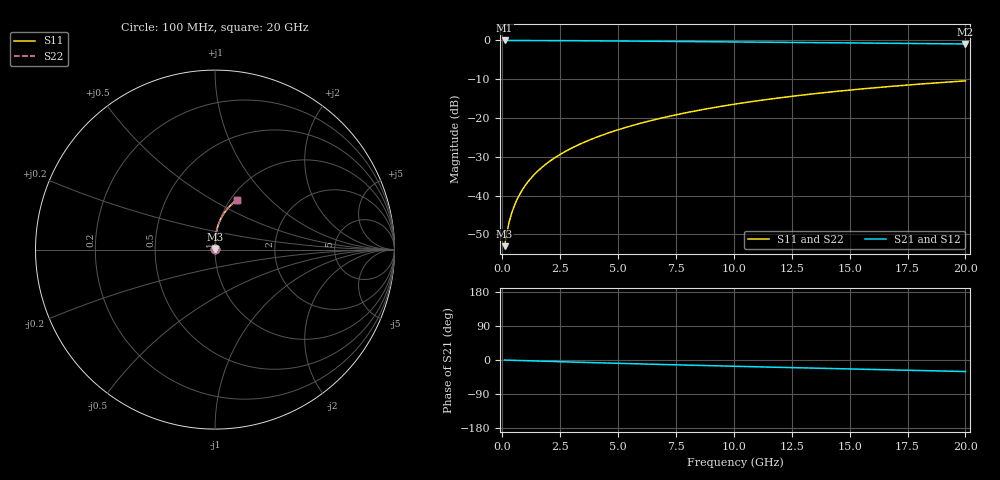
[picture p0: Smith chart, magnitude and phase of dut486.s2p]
! Touchstone file exported from HFSS 2024.1.0
!  File:  C:/UserFiles/LocalFiles/RDL_TSV_Batchsim/temp_RDL_bottom_486_1779686616.aedt
!  Generated:  01:26:07 PM May 25, 2026
!  Design:  RDL_bottom
!  Project:  temp_RDL_bottom_486_1779686616
!  Setup:  Setup1
!  Solution:  Sweep
! Variables:
!  dtsv = 10.80580581um
!  hbump = 3um
!  htsv = 59.37um
!  ldown = 410.51um
!  lrdl = 100um
!  p = 40
!  p1 = 53.84um
!  rhole = 1um
!  t = 450um
!  tdown = 4.16um
!  trdl = 3.915915916um
!  wdown = 23.44um
!  wrdl = 20um
# GHz S MA R 50.000000
! Terminal data exported
! Port[1] = RDL1_T1
! Port[2] = RDL1_T2
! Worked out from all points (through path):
!   200 points, 100 MHz to 20 GHz, reference 50 ohm
!   highest |S21| = -0.01 dB at 100 MHz (marker M1); lowest = -0.9 dB at 20 GHz (marker M2)
!   group delay of S21, straight-line fit = 4.17 ps
!   lowest |S11| = -53.0 dB at 100 MHz (marker M3), VSWR 1.00, Z = 50.2 + j0.147 ohm
!   |S11| at or under -10 dB: start of sweep to end of sweep
!   |S22| runs from -53.0 to -10.4 dB; largest |S21 - S12| = 3.2e-15
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0.1  0.002229 41.1  0.9983 -0.2  0.9983 -0.2  0.002229 41.1
! Gamma 0 0 0 0
! Port Impedance 50 0 50 0
0.2  0.003374 58.3  0.9982 -0.4  0.9982 -0.4  0.003374 58.3
0.3  0.004613 66.2  0.9981 -0.6  0.9981 -0.6  0.004613 66.2
0.4  0.005869 70.9  0.9979 -0.7  0.9979 -0.7  0.005869 70.9
0.5  0.007136 74.0  0.9978 -0.9  0.9978 -0.9  0.007136 74.0
0.6  0.008413 76.3  0.9977 -1.1  0.9977 -1.1  0.008413 76.3
0.8  0.011 79.4  0.9975 -1.5  0.9975 -1.5  0.011 79.4
1.1  0.01493 82.2  0.997 -2.0  0.997 -2.0  0.01493 82.2
1.5  0.02026 84.3  0.9963 -2.7  0.9963 -2.7  0.02026 84.3
1.8  0.02432 85.3  0.9956 -3.3  0.9956 -3.3  0.02432 85.3
2.1  0.02841 86.0  0.9948 -3.8  0.9948 -3.8  0.02841 86.0
2.7  0.03675 86.9  0.9928 -4.9  0.9928 -4.9  0.03675 86.9
3.5  0.04817 87.4  0.9898 -6.3  0.9898 -6.3  0.04817 87.4
4.2  0.05846 87.4  0.9867 -7.5  0.9867 -7.5  0.05846 87.4
5  0.07052 87.1  0.9828 -8.8  0.9828 -8.8  0.07053 87.1
6.8  0.09865 85.7  0.9734 -11.7  0.9734 -11.7  0.09866 85.7
8.4  0.1244 83.8  0.9647 -14.1  0.9647 -14.1  0.1244 83.8
10.1  0.1519 81.4  0.9553 -16.7  0.9553 -16.7  0.1519 81.4
11.7  0.1776 79.0  0.9465 -19.0  0.9465 -19.0  0.1776 79.0
13.4  0.2044 76.4  0.9371 -21.4  0.9371 -21.4  0.2044 76.4
16.7  0.2543 71.3  0.9186 -26.0  0.9186 -26.0  0.2543 71.3
20  0.3008 66.4  0.8997 -30.4  0.8997 -30.4  0.3008 66.4
